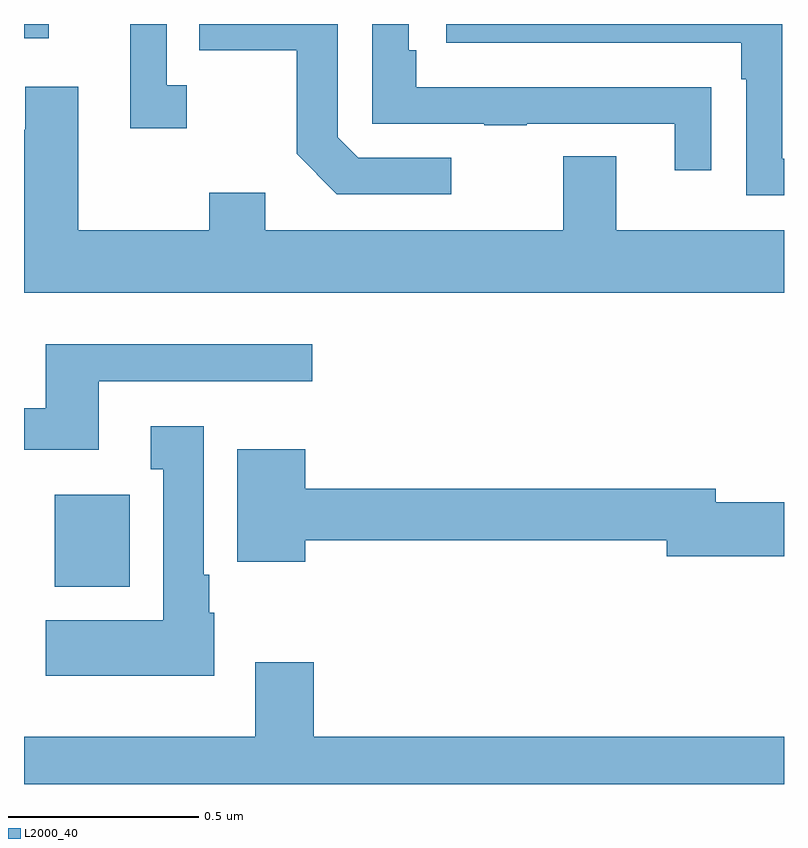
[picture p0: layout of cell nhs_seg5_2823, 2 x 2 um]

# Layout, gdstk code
import gdstk
lib = gdstk.Library(unit=1e-6, precision=1e-09)
def R(c, l, rs):  # rectangles x0, y0, x1, y1
    for r in rs: c.add(gdstk.rectangle(r[:2], r[2:], *l))
def P(c, l, *ps):  # polygons
    for p in ps: c.add(gdstk.Polygon(p, *l))
L2000_40 = (2000, 40)

nhs_seg5_2823 = lib.new_cell('nhs_seg5_2823')
R(nhs_seg5_2823, L2000_40, [(149.081,857.318,149.278,857.56), (149,858.761,149.065,858.799)])
P(nhs_seg5_2823, L2000_40, [(150.809,858.632),(150.707,858.632),(150.707,858.633),(150.032,858.633),(150.032,858.73),(150.012,858.73),(150.012,858.799),(149.916,858.799),(149.916,858.537),(150.211,858.537),(150.211,858.532),(150.323,858.532),(150.323,858.537),(150.713,858.537),(150.713,858.414),(150.809,858.414)],
  [(150.124,858.447),(149.88,858.447),(149.826,858.501),(149.826,858.799),(149.461,858.799),(149.461,858.73),(149.718,858.73),(149.718,858.457),(149.823,858.351),(150.124,858.351)],
  [(151,858.444),(150.996,858.444),(150.996,858.799),(150.111,858.799),(150.111,858.75),(150.887,858.75),(150.887,858.653),(150.9,858.653),(150.9,858.348),(151,858.348)],
  [(149.428,858.638),(149.376,858.638),(149.376,858.799),(149.279,858.799),(149.279,858.525),(149.428,858.525)],
  [(151,858.256),(150.559,858.256),(150.559,858.451),(150.419,858.451),(150.419,858.256),(149.635,858.256),(149.635,858.355),(149.488,858.355),(149.488,858.256),(149.143,858.256),(149.143,858.634),(149.003,858.634),(149.003,858.521),(149,858.521),(149,858.092),(151,858.092)],
  [(149.197,857.859),(149.758,857.859),(149.758,857.956),(149.057,857.956),(149.057,857.788),(149,857.788),(149,857.678),(149.197,857.678)],
  [(149.5,857.25),(149.488,857.25),(149.488,857.35),(149.473,857.35),(149.473,857.74),(149.333,857.74),(149.333,857.627),(149.366,857.627),(149.366,857.23),(149.057,857.23),(149.057,857.084),(149.5,857.084)],
  [(149.74,857.44),(150.692,857.44),(150.692,857.398),(151,857.398),(151,857.54),(150.82,857.54),(150.82,857.576),(149.74,857.576),(149.74,857.68),(149.561,857.68),(149.561,857.384),(149.74,857.384)],
  [(151,856.924),(149.762,856.924),(149.762,857.119),(149.609,857.119),(149.609,856.924),(149,856.924),(149,856.799),(151,856.799)])

lib.write_gds('nhs_seg5_2823.gds')
